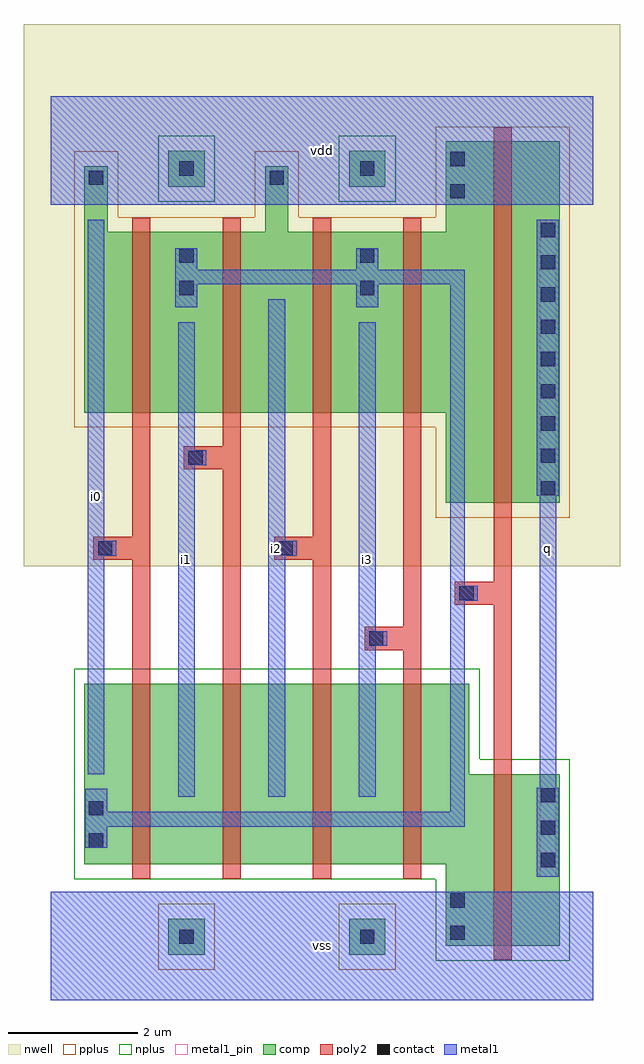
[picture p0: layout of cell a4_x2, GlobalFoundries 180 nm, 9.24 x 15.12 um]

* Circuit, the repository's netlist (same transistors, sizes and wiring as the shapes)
* a4_x2
.subckt a4_x2 vdd q vss i0 i1 i2 i3
Mp_net1_1 vdd _net1 q vdd pfet_03v3 l=0.28um w=5.6um
Mn_net1_1 vss _net1 q vss nfet_03v3 l=0.28um w=2.66um
Mp_i0_1 vdd i0 _net1 vdd pfet_03v3 l=0.28um w=2.8um
Mn_i0_1 _net1 i0 _net3 vss nfet_03v3 l=0.28um w=2.8um
Mp_i1_1 _net1 i1 vdd vdd pfet_03v3 l=0.28um w=2.8um
Mn_i1_1 _net3 i1 _net0 vss nfet_03v3 l=0.28um w=2.8um
Mp_i2_1 vdd i2 _net1 vdd pfet_03v3 l=0.28um w=2.8um
Mn_i2_1 _net0 i2 _net2 vss nfet_03v3 l=0.28um w=2.8um
Mp_i3_1 _net1 i3 vdd vdd pfet_03v3 l=0.28um w=2.8um
Mn_i3_1 _net2 i3 vss vss nfet_03v3 l=0.28um w=2.8um
.ends a4_x2

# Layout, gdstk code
import gdstk
lib = gdstk.Library(unit=1e-6, precision=1e-09)
def R(c, l, rs):  # rectangles x0, y0, x1, y1
    for r in rs: c.add(gdstk.rectangle(r[:2], r[2:], *l))
def A(c, l, x, y, w, h, nx, ny, dx, dy):  # array of equal rectangles
    R(c, l, [(x+i*dx, y+j*dy, x+i*dx+w, y+j*dy+h) for i in range(nx) for j in range(ny)])
def P(c, l, *ps):  # polygons
    for p in ps: c.add(gdstk.Polygon(p, *l))
nwell = (21, 0)
comp = (22, 0)
poly2 = (30, 0)
pplus = (31, 0)
nplus = (32, 0)
contact = (33, 0)
metal1 = (34, 0)
metal1_pin = (34, 10)

a4_x2 = lib.new_cell('a4_x2')
R(a4_x2, nwell, [(-0.42,6.72,8.82,15.12)])
R(a4_x2, comp, [(1.82,0.7,2.38,1.26), (4.62,0.7,5.18,1.26), (1.82,12.6,2.38,13.16), (4.62,12.6,5.18,13.16)])
P(a4_x2, comp, [(6.12,7.7),(6.12,9.1),(0.52,9.1),(0.52,12.92),(0.88,12.92),(0.88,11.9),(3.32,11.9),(3.32,12.92),(3.68,12.92),(3.68,11.9),(6.12,11.9),(6.12,13.3),(7.88,13.3),(7.88,7.7)],
  [(6.12,0.84),(6.12,2.1),(0.52,2.1),(0.52,4.9),(6.48,4.9),(6.48,3.5),(7.88,3.5),(7.88,0.84)])
P(a4_x2, poly2, [(6.86,0.62),(6.86,6.12),(6.26,6.12),(6.26,6.48),(6.86,6.48),(6.86,13.52),(7.14,13.52),(7.14,0.62)],
  [(1.26,1.88),(1.26,6.82),(0.66,6.82),(0.66,7.18),(1.26,7.18),(1.26,12.12),(1.54,12.12),(1.54,1.88)],
  [(2.66,1.88),(2.66,8.22),(2.06,8.22),(2.06,8.58),(2.66,8.58),(2.66,12.12),(2.94,12.12),(2.94,1.88)],
  [(4.06,1.88),(4.06,6.82),(3.46,6.82),(3.46,7.18),(4.06,7.18),(4.06,12.12),(4.34,12.12),(4.34,1.88)],
  [(5.46,1.88),(5.46,5.42),(4.86,5.42),(4.86,5.78),(5.46,5.78),(5.46,12.12),(5.74,12.12),(5.74,1.88)])
R(a4_x2, pplus, [(1.66,0.47,2.54,1.49), (4.46,0.47,5.34,1.49)])
P(a4_x2, pplus, [(5.96,7.47),(5.96,8.87),(0.36,8.87),(0.36,13.15),(1.04,13.15),(1.04,12.13),(3.16,12.13),(3.16,13.15),(3.84,13.15),(3.84,12.13),(5.96,12.13),(5.96,13.53),(8.04,13.53),(8.04,7.47)])
R(a4_x2, nplus, [(1.66,12.37,2.54,13.39), (4.46,12.37,5.34,13.39)])
P(a4_x2, nplus, [(5.96,0.61),(5.96,1.87),(0.36,1.87),(0.36,5.13),(6.64,5.13),(6.64,3.73),(8.04,3.73),(8.04,0.61)])
A(a4_x2, contact, 7.59, 2.06, 0.22, 0.22, 1, 3, 0, 0.5)
A(a4_x2, contact, 7.59, 7.82, 0.22, 0.22, 1, 9, 0, 0.5)
R(a4_x2, contact, [(1.99,0.87,2.21,1.09), (4.79,0.87,5.01,1.09), (6.19,0.93,6.41,1.15), (6.19,1.43,6.41,1.65), (0.59,2.36,0.81,2.58), (0.59,2.86,0.81,3.08), (4.93,5.49,5.15,5.71), (6.33,6.19,6.55,6.41), (0.73,6.89,0.95,7.11), (3.53,6.89,3.75,7.11), (2.13,8.29,2.35,8.51), (1.99,10.92,2.21,11.14), (4.79,10.92,5.01,11.14), (1.99,11.42,2.21,11.64), (4.79,11.42,5.01,11.64), (6.19,12.42,6.41,12.64), (0.59,12.63,0.81,12.85), (3.39,12.63,3.61,12.85), (1.99,12.77,2.21,12.99), (4.79,12.77,5.01,12.99), (6.19,12.92,6.41,13.14)])
R(a4_x2, metal1, [(0,0,8.4,1.68), (0,12.32,8.4,14)])
P(a4_x2, metal1, [(7.53,1.91),(7.53,3.285),(7.57,3.285),(7.57,7.815),(7.53,7.815),(7.53,12.09),(7.87,12.09),(7.87,7.815),(7.83,7.815),(7.83,3.285),(7.87,3.285),(7.87,1.91)],
  [(0.53,2.355),(0.53,3.27),(0.87,3.27),(0.87,2.915),(6.185,2.915),(6.185,11.085),(5.07,11.085),(5.07,10.73),(4.73,10.73),(4.73,11.085),(2.27,11.085),(2.27,10.73),(1.93,10.73),(1.93,11.645),(2.27,11.645),(2.27,11.315),(4.73,11.315),(4.73,11.645),(5.07,11.645),(5.07,11.315),(6.415,11.315),(6.415,6.415),(6.61,6.415),(6.61,6.185),(6.415,6.185),(6.415,2.685),(0.87,2.685),(0.87,2.355)],
  [(0.57,3.5),(0.57,12.09),(0.83,12.09),(0.83,7.115),(1.01,7.115),(1.01,6.885),(0.83,6.885),(0.83,3.5)],
  [(1.97,3.145),(1.97,10.5),(2.23,10.5),(2.23,8.515),(2.41,8.515),(2.41,8.285),(2.23,8.285),(2.23,3.145)],
  [(3.37,3.145),(3.37,10.855),(3.63,10.855),(3.63,7.115),(3.81,7.115),(3.81,6.885),(3.63,6.885),(3.63,3.145)],
  [(4.77,3.145),(4.77,10.5),(5.03,10.5),(5.03,5.715),(5.21,5.715),(5.21,5.485),(5.03,5.485),(5.03,3.145)])
R(a4_x2, metal1_pin, [(0,0,8.4,1.68), (7.57,1.91,7.83,12.09), (1.97,3.145,2.23,10.5), (3.37,3.145,3.63,10.855), (4.77,3.145,5.03,10.5), (0.57,3.5,0.83,12.09), (0,12.32,8.4,14)])
a4_x2.add(gdstk.Label('vdd', (4.2,13.16), layer=34, texttype=10))
a4_x2.add(gdstk.Label('q', (7.7,7), layer=34, texttype=10))
a4_x2.add(gdstk.Label('vss', (4.2,0.84), layer=34, texttype=10))
a4_x2.add(gdstk.Label('i0', (0.7,7.795), layer=34, texttype=10))
a4_x2.add(gdstk.Label('i1', (2.1,6.823), layer=34, texttype=10))
a4_x2.add(gdstk.Label('i2', (3.5,7), layer=34, texttype=10))
a4_x2.add(gdstk.Label('i3', (4.9,6.823), layer=34, texttype=10))

lib.write_gds('a4_x2.gds')
